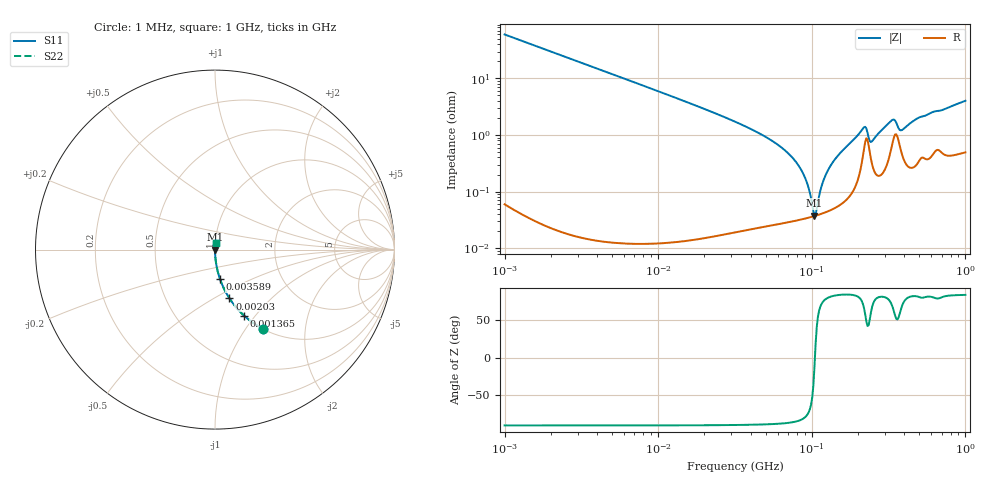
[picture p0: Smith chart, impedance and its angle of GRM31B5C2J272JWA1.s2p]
!Murata Part Number: GRM31B5C2J272JWA1
!These Parameters are Measured in Series Mode Connection
!Data Generated on Mar 30, 2021
!  o--ll--o
!Port1  Port2
!  o------o
!Operation Temp=25[degC], DC Bias Voltage=0[V]
!Freq. Start=1000[kHz] Stop=1000[MHz] 401[Steps]
# Hz S RI R 50
!Freq.(Hz) S11(Real) S11(Imag) S21(Real) S21(Imag) S12(Real) S12(Imag) S22(Real) S22(Imag)
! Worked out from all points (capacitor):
!   401 points, 1 MHz to 1 GHz, reference 50 ohm
!   read as one part in series: C = 2.65 nF near 1.035 MHz
!   lowest |Z| = 37.6 mohm at 104.1 MHz (marker M1)
!   series resonance near 104.8 MHz, so ESL is about 870 pH
!   S11 on the Smith chart (normalised r, x): 1 MHz: 1.00, -1.20; 1.365 MHz: 1.00, -0.88; 2.03 MHz: 1.00, -0.59; 3.589 MHz: 1.00, -0.33; 1 GHz: 1.01, +0.08
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1000000  0.2652 -0.441  0.7348 0.441  0.7348 0.441  0.2652 -0.441
1364583  0.1624 -0.3684  0.8376 0.3684  0.8376 0.3684  0.1624 -0.3684
2030019  0.0806 -0.2718  0.9194 0.2718  0.9194 0.2718  0.0806 -0.2718
3180534  0.0345 -0.1821  0.9655 0.1821  0.9655 0.1821  0.0345 -0.1821
3589219  0.0273 -0.1625  0.9727 0.1625  0.9727 0.1625  0.0273 -0.1625
1.01158e7  0.00356 -0.0586  0.9964 0.0586  0.9964 0.0586  0.00356 -0.0586
3.162278e7  0.000486 -0.0172  0.9995 0.0172  0.9995 0.0172  0.000486 -0.0172
5.308844e7  0.000318 -0.00841  0.9997 0.00841  0.9997 0.00841  0.000318 -0.00841
7.370552e7  0.00031 -0.00414  0.9997 0.00414  0.9997 0.00414  0.00031 -0.00414
8.912509e7  0.000332 -0.00188  0.9997 0.00188  0.9997 0.00188  0.000332 -0.00188
1.005773e8  0.000358 -0.000479  0.9996 0.000479  0.9996 0.000479  0.000358 -0.000479
1.041118e8  0.000368 -7.69e-05  0.9996 7.69e-05  0.9996 7.69e-05  0.000368 -7.69e-05
1.077705e8  0.000379 0.000327  0.9996 -0.000327  0.9996 -0.000327  0.000379 0.000327
1.237371e8  0.000436 0.00198  0.9996 -0.00198  0.9996 -0.00198  0.000436 0.00198
1.496236e8  0.000577 0.00444  0.9994 -0.00444  0.9994 -0.00444  0.000577 0.00444
2.150305e8  0.00432 0.0122  0.9957 -0.0122  0.9957 -0.0122  0.00432 0.0122
2.46888e8  0.00308 0.00709  0.9969 -0.00709  0.9969 -0.00709  0.00308 0.00709
3.198895e8  0.00439 0.016  0.9956 -0.016  0.9956 -0.016  0.00439 0.016
3.427678e8  0.00928 0.0161  0.9907 -0.0161  0.9907 -0.0161  0.00928 0.0161
3.868121e8  0.00462 0.0113  0.9954 -0.0113  0.9954 -0.0113  0.00462 0.0113
5.011872e8  0.00391 0.02  0.9961 -0.02  0.9961 -0.02  0.00391 0.02
1e9  0.00648 0.0395  0.9935 -0.0395  0.9935 -0.0395  0.00648 0.0395
